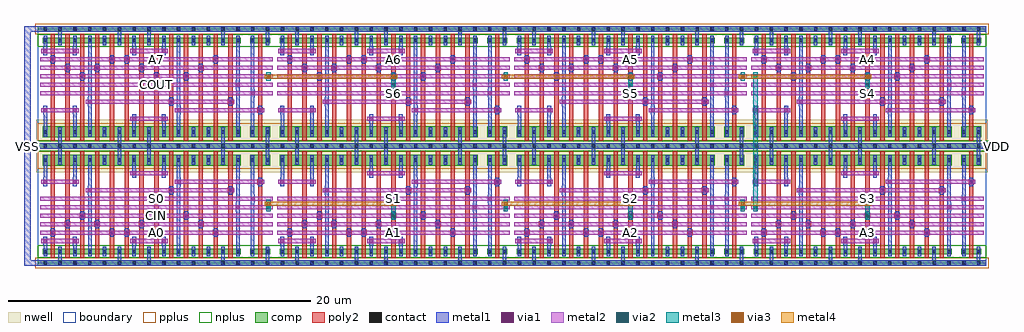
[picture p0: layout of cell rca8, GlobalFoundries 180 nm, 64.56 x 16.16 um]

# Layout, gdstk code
import gdstk
lib = gdstk.Library(unit=1e-6, precision=1e-09)
def R(c, l, rs):  # rectangles x0, y0, x1, y1
    for r in rs: c.add(gdstk.rectangle(r[:2], r[2:], *l))
def A(c, l, x, y, w, h, nx, ny, dx, dy):  # array of equal rectangles
    R(c, l, [(x+i*dx, y+j*dy, x+i*dx+w, y+j*dy+h) for i in range(nx) for j in range(ny)])
boundary = (0, 0)
nwell = (21, 0)
comp = (22, 0)
poly2 = (30, 0)
pplus = (31, 0)
nplus = (32, 0)
contact = (33, 0)
metal1 = (34, 0)
via1 = (35, 0)
metal2 = (36, 0)
via2 = (38, 0)
via3 = (40, 0)
metal3 = (42, 0)
metal4 = (46, 0)

c_fa = lib.new_cell('fa')
R(c_fa, boundary, [(0,0,15.68,7.74)])
R(c_fa, nwell, [(-0.12,6.02,15.8,8.04)])
R(c_fa, comp, [(0,-0.18,15.68,0.18), (0.31,0.57,13.41,0.93), (14.03,0.57,15.37,0.93), (0.31,6.45,13.41,7.17), (14.03,6.45,15.37,7.17), (0,7.56,15.68,7.92)])
A(c_fa, poly2, 0.84, 0.35, 0.28, 0.8, 13, 1, 0.98, 0)
A(c_fa, poly2, 0.84, 1.15, 0.28, 5.08, 13, 1, 0.98, 0)
A(c_fa, poly2, 0.84, 6.23, 0.28, 1.16, 13, 1, 0.98, 0)
R(c_fa, poly2, [(14.56,0.35,14.84,1.15), (14.56,1.15,14.84,6.23), (0.8,1.83,1.16,2.19), (4.72,1.83,5.08,2.19), (5.7,1.83,6.06,2.19), (11.58,1.83,11.94,2.19), (1.78,2.39,2.14,2.75), (3.74,2.39,4.1,2.75), (6.68,2.39,7.04,2.75), (10.6,2.39,10.96,2.75), (2.76,2.95,3.12,3.31), (7.66,2.95,8.02,3.31), (9.62,2.95,9.98,3.31), (8.64,4.63,9,4.99), (12.56,4.63,12.92,4.99), (14.52,5.19,14.88,5.55), (14.56,6.23,14.84,7.39)])
R(c_fa, pplus, [(-0.16,-0.34,15.84,0.34), (0,6.22,15.68,7.4)])
R(c_fa, nplus, [(0,0.34,15.68,1.16), (-0.16,7.4,15.84,8.08)])
A(c_fa, contact, 0.38, -0.11, 0.22, 0.22, 16, 2, 0.98, 0.75)
A(c_fa, contact, 0.38, 6.7, 0.22, 0.22, 16, 2, 0.98, 0.93)
R(c_fa, contact, [(0.87,1.9,1.09,2.12), (4.79,1.9,5.01,2.12), (5.77,1.9,5.99,2.12), (11.65,1.9,11.87,2.12), (1.85,2.46,2.07,2.68), (3.81,2.46,4.03,2.68), (6.75,2.46,6.97,2.68), (10.67,2.46,10.89,2.68), (2.83,3.02,3.05,3.24), (7.73,3.02,7.95,3.24), (9.69,3.02,9.91,3.24), (8.71,4.7,8.93,4.92), (12.63,4.7,12.85,4.92), (14.59,5.26,14.81,5.48)])
A(c_fa, metal1, 0.375, 0.435, 0.23, 0.63, 16, 2, 0.98, 6.06)
R(c_fa, metal1, [(0,-0.18,15.68,0.18), (1.355,0,1.585,0.435), (5.275,0,5.505,0.435), (7.235,0,7.465,0.435), (12.135,0,12.365,0.435), (15.075,0,15.305,0.435), (0.375,1.065,0.605,1.45), (2.335,1.065,2.565,1.45), (3.315,1.065,3.545,4.81), (6.255,1.065,6.485,1.45), (8.215,1.065,8.445,1.45), (9.195,1.065,9.425,5.37), (13.115,1.065,13.345,3.69), (14.095,1.065,14.325,4.25), (0.36,1.17,0.62,1.73), (2.32,1.17,2.58,1.73), (6.24,1.17,6.5,1.73), (8.2,1.17,8.46,1.73), (0.85,1.73,1.11,2.29), (4.77,1.73,5.03,2.29), (5.75,1.73,6.01,2.29), (11.63,1.73,11.89,2.29), (1.83,2.29,2.09,2.85), (3.79,2.29,4.05,2.85), (6.73,2.29,6.99,2.85), (10.65,2.29,10.91,2.85), (2.81,2.85,3.07,3.41), (7.71,2.85,7.97,3.41), (9.67,2.85,9.93,3.41), (13.1,3.41,13.36,3.97), (13.1,3.41,13.36,3.97), (13.115,3.69,13.345,6.495), (14.08,3.97,14.34,4.53), (14.08,3.97,14.34,4.53), (14.095,4.25,14.325,6.495), (3.3,4.53,3.56,5.09), (3.3,4.53,3.56,5.09), (8.69,4.53,8.95,5.09), (12.61,4.53,12.87,5.09), (3.315,4.81,3.545,6.495), (0.36,5.09,0.62,5.65), (2.32,5.09,2.58,5.65), (9.18,5.09,9.44,5.65), (9.18,5.09,9.44,5.65), (14.57,5.09,14.83,5.65), (0.375,5.37,0.605,6.495), (2.335,5.37,2.565,6.495), (9.195,5.37,9.425,6.495), (6.24,5.65,6.5,6.21), (8.2,5.65,8.46,6.21), (6.255,5.93,6.485,6.495), (8.215,5.93,8.445,6.495), (1.355,7.125,1.585,7.74), (5.275,7.125,5.505,7.74), (7.235,7.125,7.465,7.74), (12.135,7.125,12.365,7.74), (15.075,7.125,15.305,7.74), (0,7.56,15.68,7.92)])
R(c_fa, via1, [(0.36,1.32,0.62,1.58), (2.32,1.32,2.58,1.58), (6.24,1.32,6.5,1.58), (8.2,1.32,8.46,1.58), (0.85,1.88,1.11,2.14), (4.77,1.88,5.03,2.14), (5.75,1.88,6.01,2.14), (11.63,1.88,11.89,2.14), (1.83,2.44,2.09,2.7), (3.79,2.44,4.05,2.7), (6.73,2.44,6.99,2.7), (10.65,2.44,10.91,2.7), (2.81,3,3.07,3.26), (7.71,3,7.97,3.26), (9.67,3,9.93,3.26), (13.1,3.56,13.36,3.82), (13.1,3.56,13.36,3.82), (14.08,4.12,14.34,4.38), (14.08,4.12,14.34,4.38), (3.3,4.68,3.56,4.94), (3.3,4.68,3.56,4.94), (8.69,4.68,8.95,4.94), (12.61,4.68,12.87,4.94), (0.36,5.24,0.62,5.5), (2.32,5.24,2.58,5.5), (9.18,5.24,9.44,5.5), (9.18,5.24,9.44,5.5), (14.57,5.24,14.83,5.5), (6.24,5.8,6.5,6.06), (8.2,5.8,8.46,6.06)])
A(c_fa, metal2, 0.14, 1.87, 15.4, 0.28, 1, 5, 0, 0.56)
R(c_fa, metal2, [(0.23,1.31,0.75,1.59), (0.49,1.31,2.45,1.59), (2.19,1.31,2.71,1.59), (6.11,1.31,6.63,1.59), (6.37,1.31,8.33,1.59), (8.07,1.31,8.59,1.59), (0.72,1.87,1.24,2.15), (4.64,1.87,5.16,2.15), (5.62,1.87,6.14,2.15), (11.5,1.87,12.02,2.15), (1.7,2.43,2.22,2.71), (3.66,2.43,4.18,2.71), (6.6,2.43,7.12,2.71), (10.52,2.43,11.04,2.71), (2.68,2.99,3.2,3.27), (7.58,2.99,8.1,3.27), (9.54,2.99,10.06,3.27), (12.97,3.55,13.49,3.83), (12.97,3.55,13.49,3.83), (13.95,4.11,14.47,4.39), (13.95,4.11,14.47,4.39), (3.17,4.67,3.69,4.95), (3.17,4.67,3.69,4.95), (3.43,4.67,12.74,4.95), (8.56,4.67,9.08,4.95), (12.48,4.67,13,4.95), (0.23,5.23,0.75,5.51), (0.49,5.23,2.45,5.51), (2.19,5.23,2.71,5.51), (9.05,5.23,9.57,5.51), (9.05,5.23,9.57,5.51), (9.31,5.23,14.7,5.51), (14.44,5.23,14.96,5.51), (6.11,5.79,6.63,6.07), (6.37,5.79,8.33,6.07), (8.07,5.79,8.59,6.07)])
c_fa.add(gdstk.Label('VSS', (7.84,0), layer=34, texttype=10))
c_fa.add(gdstk.Label('VDD', (7.84,7.74), layer=34, texttype=10))
c_fa.add(gdstk.Label('COUT', (7.84,3.69), layer=36, texttype=10))
c_fa.add(gdstk.Label('SUM', (7.84,4.25), layer=36, texttype=10))
c_fa.add(gdstk.Label('A', (7.84,2.01), layer=36, texttype=10))
c_fa.add(gdstk.Label('B', (7.84,2.57), layer=36, texttype=10))
c_fa.add(gdstk.Label('CIN', (7.84,3.13), layer=36, texttype=10))

rca8 = lib.new_cell('rca8')
R(rca8, metal1, [(-0.92,-0.18,-0.46,15.66), (-0.92,-0.18,0,0.18), (62.72,7.56,63.64,7.92), (63.18,7.56,63.64,7.92), (-0.92,15.3,0,15.66)])
A(rca8, metal2, 23.26, 2.99, 0.52, 0.28, 3, 2, 15.68, 8.66)
A(rca8, metal2, 15, 3.55, 0.52, 0.28, 3, 2, 15.68, 8.66)
R(rca8, metal2, [(47.2,3.55,47.72,3.83), (47.2,12.21,47.72,12.49)])
A(rca8, via2, 23.39, 3, 0.26, 0.26, 3, 2, 15.68, 8.66)
A(rca8, via2, 15.13, 3.56, 0.26, 0.26, 3, 2, 15.68, 8.66)
R(rca8, via2, [(47.33,3.56,47.59,3.82), (47.33,12.22,47.59,12.48)])
R(rca8, via3, [(15.13,3.79,15.39,4.05), (23.39,3.79,23.65,4.05), (30.81,3.79,31.07,4.05), (39.07,3.79,39.33,4.05), (46.49,3.79,46.75,4.05), (54.75,3.79,55.01,4.05), (15.13,12.19,15.39,12.45), (23.39,12.19,23.65,12.45), (30.81,12.19,31.07,12.45), (39.07,12.19,39.33,12.45), (46.49,12.19,46.75,12.45), (54.75,12.19,55.01,12.45)])
A(rca8, metal3, 23.38, 2.87, 0.28, 0.52, 3, 2, 15.68, 8.66)
A(rca8, metal3, 23.38, 3.13, 0.28, 0.79, 3, 1, 15.68, 0)
A(rca8, metal3, 15.12, 3.43, 0.28, 0.52, 3, 2, 15.68, 8.66)
A(rca8, metal3, 15.12, 3.69, 0.28, 0.23, 3, 1, 15.68, 0)
A(rca8, metal3, 23.38, 11.79, 0.28, 0.53, 3, 1, 15.68, 0)
A(rca8, metal3, 15.12, 12.32, 0.28, 0.03, 3, 1, 15.68, 0)
R(rca8, metal3, [(47.32,3.43,47.6,3.95), (15.12,3.66,15.4,4.18), (23.38,3.66,23.66,4.18), (30.8,3.66,31.08,4.18), (39.06,3.66,39.34,4.18), (46.48,3.66,46.76,4.18), (54.74,3.66,55.02,4.18), (47.32,3.69,47.6,12.35), (15.12,12.06,15.4,12.58), (23.38,12.06,23.66,12.58), (30.8,12.06,31.08,12.58), (39.06,12.06,39.34,12.58), (46.48,12.06,46.76,12.58), (54.74,12.06,55.02,12.58), (47.32,12.09,47.6,12.61)])
A(rca8, metal4, 15.26, 3.78, 8.26, 0.28, 3, 2, 15.68, 8.4)
R(rca8, metal4, [(15,3.78,15.52,4.06), (23.26,3.78,23.78,4.06), (30.68,3.78,31.2,4.06), (38.94,3.78,39.46,4.06), (46.36,3.78,46.88,4.06), (54.62,3.78,55.14,4.06), (15,12.18,15.52,12.46), (23.26,12.18,23.78,12.46), (30.68,12.18,31.2,12.46), (38.94,12.18,39.46,12.46), (46.36,12.18,46.88,12.46), (54.62,12.18,55.14,12.46)])
rca8.add(gdstk.Reference(c_fa, (0,0)))
rca8.add(gdstk.Reference(c_fa, (15.68,0)))
rca8.add(gdstk.Reference(c_fa, (31.36,0)))
rca8.add(gdstk.Reference(c_fa, (47.04,0)))
rca8.add(gdstk.Reference(c_fa, (0,15.48), x_reflection=True))
rca8.add(gdstk.Reference(c_fa, (15.68,15.48), x_reflection=True))
rca8.add(gdstk.Reference(c_fa, (31.36,15.48), x_reflection=True))
rca8.add(gdstk.Reference(c_fa, (47.04,15.48), x_reflection=True))
rca8.add(gdstk.Label('VSS', (-0.69,7.74), layer=34, texttype=10))
rca8.add(gdstk.Label('VDD', (63.41,7.74), layer=34, texttype=10))
rca8.add(gdstk.Label('A0', (7.84,2.01), layer=36, texttype=10))
rca8.add(gdstk.Label('A1', (23.52,2.01), layer=36, texttype=10))
rca8.add(gdstk.Label('A2', (39.2,2.01), layer=36, texttype=10))
rca8.add(gdstk.Label('A3', (54.88,2.01), layer=36, texttype=10))
rca8.add(gdstk.Label('A4', (54.88,13.47), layer=36, texttype=10))
rca8.add(gdstk.Label('A5', (39.2,13.47), layer=36, texttype=10))
rca8.add(gdstk.Label('A6', (23.52,13.47), layer=36, texttype=10))
rca8.add(gdstk.Label('A7', (7.84,13.47), layer=36, texttype=10))
rca8.add(gdstk.Label('B0', (7.84,2.57), layer=36, texttype=10))
rca8.add(gdstk.Label('B1', (23.52,2.57), layer=36, texttype=10))
rca8.add(gdstk.Label('B2', (39.2,2.57), layer=36, texttype=10))
rca8.add(gdstk.Label('B3', (54.88,2.57), layer=36, texttype=10))
rca8.add(gdstk.Label('B4', (54.88,12.91), layer=36, texttype=10))
rca8.add(gdstk.Label('B5', (39.2,12.91), layer=36, texttype=10))
rca8.add(gdstk.Label('B6', (23.52,12.91), layer=36, texttype=10))
rca8.add(gdstk.Label('B7', (7.84,12.91), layer=36, texttype=10))
rca8.add(gdstk.Label('CIN', (7.84,3.13), layer=36, texttype=10))
rca8.add(gdstk.Label('COUT', (7.84,11.79), layer=36, texttype=10))
rca8.add(gdstk.Label('S0', (7.84,4.25), layer=36, texttype=10))
rca8.add(gdstk.Label('S1', (23.52,4.25), layer=36, texttype=10))
rca8.add(gdstk.Label('S2', (39.2,4.25), layer=36, texttype=10))
rca8.add(gdstk.Label('S3', (54.88,4.25), layer=36, texttype=10))
rca8.add(gdstk.Label('S4', (54.88,11.23), layer=36, texttype=10))
rca8.add(gdstk.Label('S5', (39.2,11.23), layer=36, texttype=10))
rca8.add(gdstk.Label('S6', (23.52,11.23), layer=36, texttype=10))
rca8.add(gdstk.Label('S7', (7.84,11.23), layer=36, texttype=10))

lib.write_gds('rca8.gds')
